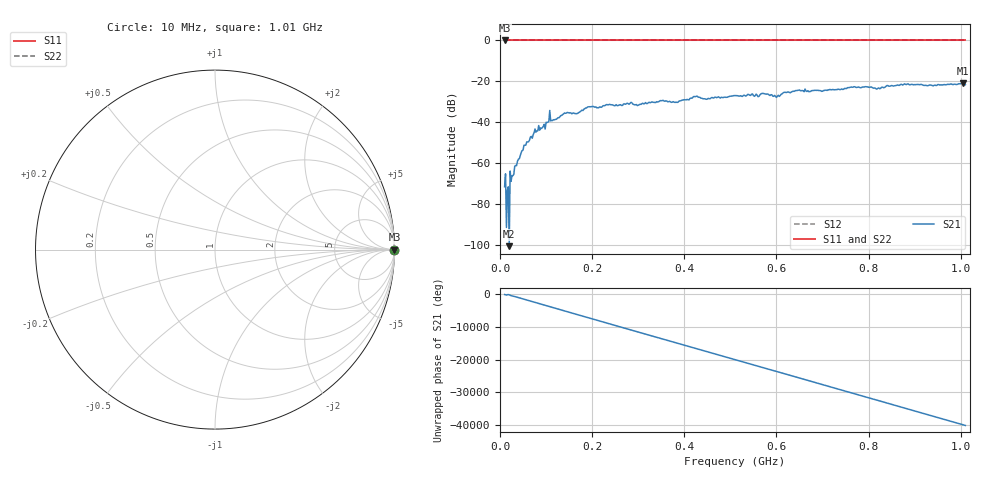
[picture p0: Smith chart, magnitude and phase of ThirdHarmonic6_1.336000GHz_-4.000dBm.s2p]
! 8/16/2025 2:57:41 PM
! C:\ANRITSUVNA\TEMP\TEMP.S2P
! CHANNEL.1
! TR.MEASUREMENT
! RAW.DATA
! RF.CORRECTION.OFF
! AVERAGING.OFF
! IF.BANDWIDTH: 5KHZ
! SWEEPTYPE:  FREQ.SWEEP(Linear)
! Reference Plane Port Info
! PORT:  PORT1  PORT2
! DISTANCE:  0  m  0  m
! TIME:  0  s  0  s
! PHASE.OFFSET:  0  deg.  0  deg.
! LOSS:  0  dB  0  dB
! REF.LOSS:  0  dB  0  dB
! REF.FREQ:  0  Hz  0  Hz
! Power Info
! POWER:  -20  dBm  -20  dBm
! EFF.POWER:  -20  dBm  -20  dBm
! SOURCE.ATTEN:  0  dB  0  dB
! TEST.ATTEN:  0  dB  0  dB
# GHZ S RI R 50.0
! FREQ.GHZ  S11RE  S11IM  S21RE  S21IM  S12RE  S12IM  S22RE  S22IM
!; PortSelection: Port_12
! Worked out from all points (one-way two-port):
!   501 points, 10 MHz to 1.01 GHz, reference 50 ohm
!   highest |S21| = -20.93 dB at 1.004 GHz (marker M1); lowest = -100.5 dB at 20 MHz (marker M2)
!   lowest |S11| = 0.0 dB at 10 MHz (marker M3)
!   |S11| at or under -10 dB: nowhere
!   |S22| runs from 0.0 to 0.0 dB; largest |S21 - S12| = 1.1
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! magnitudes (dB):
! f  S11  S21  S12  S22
! 10 MHz  0.0  -71.4  0.0  0.0
! 16 MHz  0.0  -73.3  0.0  0.0
! 20 MHz  0.0  -100.5  0.0  0.0
! 24 MHz  0.0  -68.8  0.0  0.0
! 26 MHz  0.0  -66.1  0.0  0.0
! 50 MHz  0.0  -53.6  0.0  0.0
! 80 MHz  0.0  -44.2  0.0  0.0
! 94 MHz  0.0  -41.9  0.0  0.0
! 102 MHz  0.0  -40.0  0.0  0.0
! 104 MHz  0.0  -39.9  0.0  0.0
! 178 MHz  0.0  -34.0  0.0  0.0
! 194 MHz  0.0  -32.4  0.0  0.0
! 344 MHz  0.0  -30.0  0.0  0.0
! 424 MHz  0.0  -27.5  0.0  0.0
! 510 MHz  0.0  -26.9  0.0  0.0
! 572 MHz  0.0  -25.9  0.0  0.0
! 602 MHz  0.0  -27.2  0.0  0.0
! 646 MHz  0.0  -24.4  0.0  0.0
! 678 MHz  0.0  -24.5  0.0  0.0
! 844 MHz  0.0  -22.3  0.0  0.0
! 1.004 GHz  0.0  -20.9  0.0  0.0
! 1.01 GHz  0.0  -21.6  0.0  0.0
